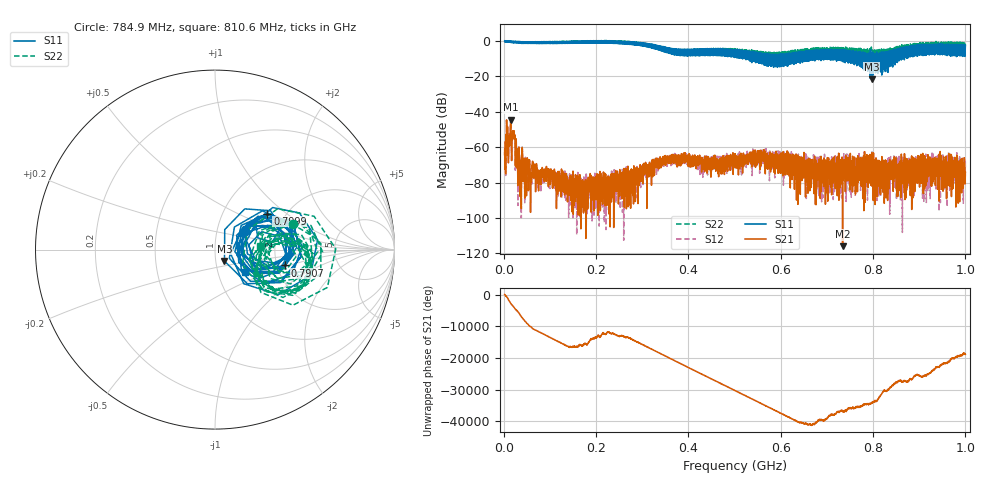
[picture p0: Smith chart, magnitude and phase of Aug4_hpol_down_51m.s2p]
!Keysight Technologies N9923A: A.12.45
!Date: Tuesday, 05 August 2025 19:17:50
!Timezone: (UTC+08:00) Kuala Lumpur, Singapore
!Model: N9923A
!Serial: MY61181427
!GPS Latitude:
!GPS Longitude:
!GPS TimeStamp: 0001-01-01 00:00:00Z
!GPS Seconds Since Last Read: 0
!CHECKSUM:0661406246
!Correction: S11(ON U)S21(ON U)S12(ON U)S22(ON U)
!S2P File: Measurements:S11,S21,S12,S22:
# Hz S DB R 50
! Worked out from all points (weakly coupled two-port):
!   4001 points, 2 MHz to 1 GHz, reference 50 ohm
!   highest |S21| = -44.39 dB at 15.22 MHz (marker M1); lowest = -116.0 dB at 734 MHz (marker M2)
!   lowest |S11| = -21.7 dB at 796.9 MHz (marker M3), VSWR 1.18, Z = 55.1 - j7.06 ohm
!   |S11| at or under -10 dB: 575.8172 MHz to 576.6025 MHz (785.3 kHz wide, 0.136 % of centre); 582.5643 MHz to 583.3618 MHz (797.5 kHz wide, 0.137 % of centre); 589.3193 MHz to 590.1193 MHz (800 kHz wide, 0.136 % of centre)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
!   |S22| runs from -15.2 to 0.3 dB; largest |S21 - S12| = 0.0011
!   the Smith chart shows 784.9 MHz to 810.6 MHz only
!   S11 on the Smith chart (normalised r, x): 784.9 MHz: 1.36, +0.30; 790.7 MHz: 2.20, -0.46; 799.9 MHz: 1.62, +0.74; 810.6 MHz: 1.36, -0.35
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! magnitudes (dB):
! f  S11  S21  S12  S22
! 2 MHz  -0.1  -64.3  -64.6  -0.1
! 10.98 MHz  -0.7  -57.4  -56.9  -0.5
! 15.22 MHz  -0.2  -44.4  -44.1  -0.2
! 19.46 MHz  -0.7  -52.1  -52.2  -0.7
! 33.69 MHz  -0.6  -63.9  -63.6  -0.5
! 57.14 MHz  -0.7  -72.7  -72.2  -0.6
! 168.4 MHz  -1.2  -82.3  -81.4  -1.0
! 280.9 MHz  -2.2  -89.1  -75.6  -1.9
! 334.8 MHz  -3.8  -71.1  -69.5  -4.5
! 391.7 MHz  -5.8  -65.3  -65.6  -6.8
! 501 MHz  -5.7  -67.1  -66.7  -6.4
! 559.9 MHz  -8.1  -66.2  -63.4  -9.4
! 667.4 MHz  -8.8  -77.5  -74.4  -8.7
! 734 MHz  -7.1  -116.0  -77.4  -4.0
! 784.9 MHz  -14.1  -66.6  -68.6  -6.8
! 790.7 MHz  -8.0  -64.8  -75.9  -9.2
! 796.9 MHz  -21.7  -65.2  -67.1  -7.6
! 799.9 MHz  -9.0  -67.8  -66.0  -5.3
! 810.6 MHz  -13.6  -75.2  -73.8  -12.0
! 833.8 MHz  -10.5  -80.6  -70.6  -5.4
! 919.4 MHz  -2.9  -75.0  -70.3  -0.9
! 1 GHz  -2.4  -74.1  -71.9  -2.1
